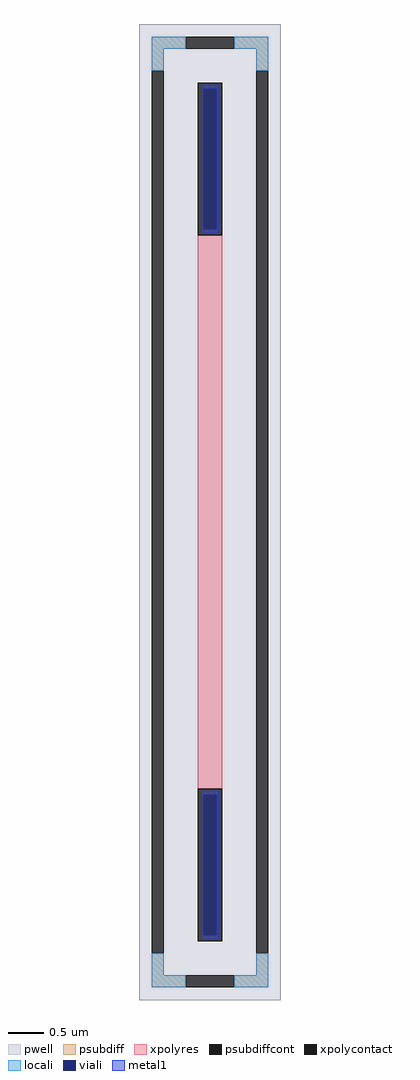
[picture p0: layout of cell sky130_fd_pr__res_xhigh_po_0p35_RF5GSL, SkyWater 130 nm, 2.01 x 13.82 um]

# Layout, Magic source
magic
tech sky130A
magscale 1 2
<< pwell >>
rect -201 -1382 201 1382
<< psubdiff >>
rect -165 1312 -69 1346
rect 69 1312 165 1346
rect -165 1250 -131 1312
rect 131 1250 165 1312
rect -165 -1312 -131 -1250
rect 131 -1312 165 -1250
rect -165 -1346 -69 -1312
rect 69 -1346 165 -1312
<< psubdiffcont >>
rect -69 1312 69 1346
rect -165 -1250 -131 1250
rect 131 -1250 165 1250
rect -69 -1346 69 -1312
<< xpolycontact >>
rect -35 784 35 1216
rect -35 -1216 35 -784
<< xpolyres >>
rect -35 -784 35 784
<< locali >>
rect -165 1312 -69 1346
rect 69 1312 165 1346
rect -165 1250 -131 1312
rect 131 1250 165 1312
rect -165 -1312 -131 -1250
rect 131 -1312 165 -1250
rect -165 -1346 -69 -1312
rect 69 -1346 165 -1312
<< viali >>
rect -19 801 19 1198
rect -19 -1198 19 -801
<< metal1 >>
rect -25 1198 25 1210
rect -25 801 -19 1198
rect 19 801 25 1198
rect -25 789 25 801
rect -25 -801 25 -789
rect -25 -1198 -19 -801
rect 19 -1198 25 -801
rect -25 -1210 25 -1198
<< properties >>
string FIXED_BBOX -148 -1329 148 1329
string gencell sky130_fd_pr__res_xhigh_po_0p35
string library sky130
string parameters w 0.350 l 8.0 m 1 nx 1 wmin 0.350 lmin 0.50 rho 2000 val 46.789k dummy 0 dw 0.0 term 188.2 sterm 0.0 caplen 0 wmax 0.350 guard 1 glc 1 grc 1 gtc 1 gbc 1 compatible {sky130_fd_pr__res_xhigh_po_0p35  sky130_fd_pr__res_xhigh_po_0p69 sky130_fd_pr__res_xhigh_po_1p41  sky130_fd_pr__res_xhigh_po_2p85 sky130_fd_pr__res_xhigh_po_5p73} snake 0 full_metal 1 n_guard 0 hv_guard 0 vias 1 viagb 0 viagt 0 viagl 0 viagr 0
<< end >>
